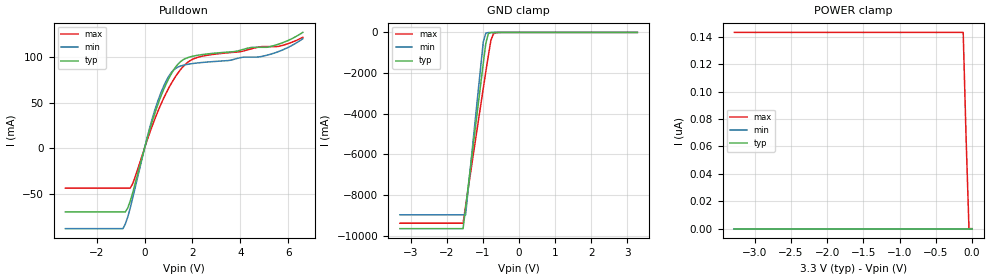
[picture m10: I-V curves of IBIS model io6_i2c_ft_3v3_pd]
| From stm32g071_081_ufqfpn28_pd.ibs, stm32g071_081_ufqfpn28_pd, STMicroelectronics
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|   Model io6_i2c_ft_3v3_pd
[Model]  io6_i2c_ft_3v3_pd
Model_type I/O_open_drain
Polarity   Non-Inverting
Enable   Active-High
Vinl =   0.990000V
Vinh =   2.310000V
Vmeas =  1.650000V
Cref =   30.000000pF
Rref =   100.000000
Vref =   3.600000V
C_comp   2.033100pF   1.980600pF   2.082100pF
[Temperature Range]   25.000000   -40.000000   0.125000k
[Pullup Reference]   3.300000V   3.000000V   3.600000V
[Pulldown Reference]   0.0V   0.0V   0.0V
[POWER Clamp Reference]   3.300000V   3.000000V   3.600000V
[GND Clamp Reference]   0.0V   0.0V   0.0V
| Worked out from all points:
|   slope of the pulldown table from 0 to 0.495 V, typ, clamps not added: 11.3 ohm
|   GND clamp passes 1 mA (typ) near -0.58 V on its own axis
[Pulldown]
|Voltage   I(typ)   I(min)   I(max)
-3.3V     -70.18mA   -88.59mA   -43.96mA
-900mV    -70.18mA   -88.59mA   -43.96mA
-700mV    -65.87mA   -75.75mA   -43.96mA
-500mV    -49.61mA   -55.52mA   -39.39mA
100mV     9.762mA    10.84mA    8.016mA
500mV     44.08mA    47.7mA     36.89mA
900mV     70.77mA    74.01mA    60.65mA
1.3V      89.52mA    87.98mA    79.23mA
1.7V      98.69mA    91.92mA    92.36mA
2.2V      102.3mA    93.89mA    99.96mA
5V        111.2mA    101.8mA    111.9mA
6.6V      127.6mA    120.6mA    122.2mA
[GND_clamp]
|Voltage   I(typ)   I(min)   I(max)
-3.3V     -9.654A    -8.974A    -9.386A
-1.55V    -9.654A    -8.974A    -9.386A
-1.48V    -8.632A    -8.974A    -8.549A
-990mV    -1.519A    -464.6mA   -2.752A
-920mV    -535.3mA   -33.4mA    -1.941A
-850mV    -61.84mA   -8.927mA   -1.147A
-780mV    -11.5mA    -4.931mA   -400.9mA
-710mV    -4.633mA   -2.361mA   -72.05mA
-640mV    -2.18mA    -760.8uA   -15.81mA
3.28V     0A         0A         0A
[POWER_clamp]
|Voltage   I(typ)   I(min)   I(max)
-3.28V    0A         0A         143.3nA
-120mV    0A         0A         143.3nA
-80mV     0A         0A         66.35nA
-40mV     0A         0A         0A
0V        0A         0A         0A
[Ramp]
| variable   typ   min   max
dV/dt_r  1.60180/0.70864n   1.48511/0.61224n   1.67120/0.71370n
dV/dt_f  1.60180/1.86381n   1.48511/1.89616n   1.67120/2.07853n
R_load = 50.000000
|End [Model] io6_i2c_ft_3v3_pd
